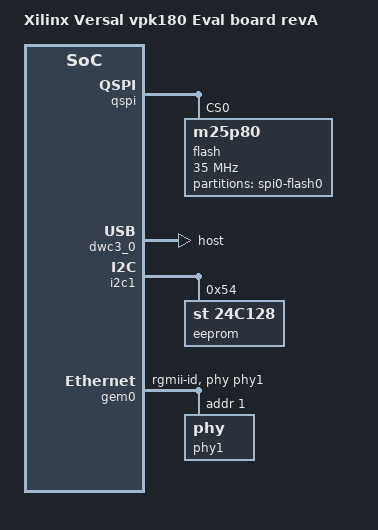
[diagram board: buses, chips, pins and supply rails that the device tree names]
// SPDX-License-Identifier: GPL-2.0
/*
 * dts file for Xilinx Versal vpk180 revA
 *
 * (C) Copyright 2021-2022 Xilinx, Inc.
 * (C) Copyright 2022 Advanced Micro Devices, Inc. All Rights Reserved.
 *
 * Michal Simek <michal.simek@xilinx.com>
 */

/ {
	model = "Xilinx Versal vpk180 Eval board revA";
	compatible = "xlnx,versal-vpk180-revA", "xlnx,versal-vpk180",
		     "xlnx,versal";

	chosen {
		bootargs = "console=ttyAMA0 earlycon=pl011,mmio32,0xFF000000,115200n8 clk_ignore_unused";
		stdout-path = "serial0:115200";
	};

	aliases {
		serial0 = &serial0;
		ethernet0 = &gem0;
		i2c0 = &i2c0;
		i2c1 = &i2c1;
		mmc0 = &sdhci1;
		spi0 = &qspi;
		usb0 = &usb0;
		rtc0 = &rtc;
	};
	/* Missing any LED for heartbeat */
};

&qspi { /* PMC_MIO_500 0 - 12 */
	num-cs = <2>;
	is-dual = <1>;
	spi-rx-bus-width = <4>;
	spi-tx-bus-width = <4>;

	flash@0 {
		compatible = "m25p80", "jedec,spi-nor";
		#address-cells = <1>;
		#size-cells = <1>;
		reg = <0>, <1>;
		parallel-memories = /bits/ 64 <0x8000000 0x8000000>; /* 128MB */
		spi-tx-bus-width = <4>;
		spi-rx-bus-width = <4>;
		spi-max-frequency = <35000000>;
		partition@0 {
			label = "spi0-flash0";
			reg = <0x0 0x8000000>;
		};
	};
};

&dwc3_0 { /* USB 2.0 host */
	dr_mode = "host";
	maximum-speed = "high-speed"; /* FIXME */
	snps,dis_u2_susphy_quirk;
	snps,dis_u3_susphy_quirk;
	snps,usb3_lpm_capable;
};

&sdhci1 { /* PMC_MIO_501 26 - 36/51 */
	xlnx,mio-bank = <1>;
	no-1-8-v;
	clk-phase-sd-hs = <111>, <48>;
	clk-phase-uhs-sdr25 = <114>, <48>;
	clk-phase-uhs-ddr50 = <126>, <36>;
};

&i2c1 { /* PMC_MIO44/45 */

	/* Use for storing information about board */
	eeprom: eeprom@54 { /* u34 - m24128 16kB */
		compatible = "st,24c128", "atmel,24c128";
		reg = <0x54>; /* & 0x5c */
		u-boot,dm-pre-reloc;
	};
};

&gem0 { /* PMC_MIO_48 - reset, LPD_MIO0-11 , mdio LPD_MIO24/25 */
	phy-handle = <&phy1>; /* u198 */
	phy-mode = "rgmii-id";
	phy1: phy@1 {
		reg = <1>;
		ti,rx-internal-delay = <0xb>;
		ti,tx-internal-delay = <0xa>;
		ti,fifo-depth = <1>;
		ti,dp83867-rxctrl-strap-quirk;
	};
};

&gpio0 {
	/* FIXME Fill names when versal starts */
};

&gpio1 {
	/* FIXME Fill names when versal starts */
};
